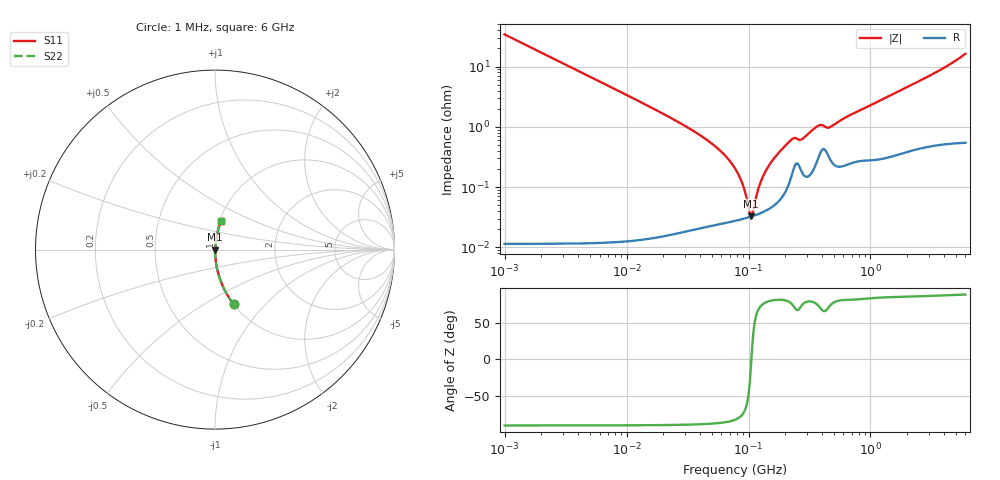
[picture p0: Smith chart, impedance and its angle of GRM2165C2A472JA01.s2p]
!Murata Part Number: GRM2165C2A472JA01
!These Parameters are Measured in Series Mode Connection
!Data Generated on Mar 30, 2021
!  o--ll--o
!Port1  Port2
!  o------o
!Operation Temp=25[degC], DC Bias Voltage=0[V]
!Freq. Start=1000[kHz] Stop=6[GHz] 401[Steps]
# Hz S RI R 50
!Freq.(Hz) S11(Real) S11(Imag) S21(Real) S21(Imag) S12(Real) S12(Imag) S22(Real) S22(Imag)
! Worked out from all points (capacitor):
!   401 points, 1 MHz to 6 GHz, reference 50 ohm
!   read as one part in series: C = 4.67 nF near 1.044 MHz
!   lowest |Z| = 32.4 mohm at 105 MHz (marker M1)
!   series resonance near 105.5 MHz, so ESL is about 490 pH
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1000000  0.104 -0.3051  0.896 0.3051  0.896 0.3051  0.104 -0.3051
2049734  0.027 -0.1616  0.973 0.1616  0.973 0.1616  0.027 -0.1616
4293785  0.00634 -0.0787  0.9937 0.0787  0.9937 0.0787  0.00634 -0.0787
1.843659e7  0.000466 -0.0179  0.9995 0.0179  0.9995 0.0179  0.000466 -0.0179
4.800399e7  0.000254 -0.00559  0.9997 0.00559  0.9997 0.00559  0.000254 -0.00559
6.368941e7  0.000263 -0.00338  0.9997 0.00338  0.9997 0.00338  0.000263 -0.00338
7.745967e7  0.000278 -0.00202  0.9997 0.00202  0.9997 0.00202  0.000278 -0.00202
8.825674e7  0.000293 -0.00116  0.9997 0.00116  0.9997 0.00116  0.000293 -0.00116
1.005588e8  0.000314 -0.000312  0.9997 0.000312  0.9997 0.000312  0.000314 -0.000312
1.050294e8  0.000322 -3.01e-05  0.9997 3.01e-05  0.9997 3.01e-05  0.000322 -3.01e-05
1.096987e8  0.000332 0.000252  0.9997 -0.000252  0.9997 -0.000252  0.000332 0.000252
1.196694e8  0.000354 0.000822  0.9996 -0.000822  0.9996 -0.000822  0.000354 0.000822
1.277378e8  0.000375 0.00126  0.9996 -0.00126  0.9996 -0.00126  0.000375 0.00126
1.587717e8  0.000486 0.0028  0.9995 -0.0028  0.9995 -0.0028  0.000486 0.0028
2.248532e8  0.00154 0.0059  0.9985 -0.0059  0.9985 -0.0059  0.00154 0.0059
2.734687e8  0.0018 0.00592  0.9982 -0.00592  0.9982 -0.00592  0.0018 0.00592
3.325952e8  0.00184 0.00853  0.9982 -0.00853  0.9982 -0.00853  0.00184 0.00853
3.872876e8  0.00376 0.00998  0.9962 -0.00998  0.9962 -0.00998  0.00376 0.00998
4.710229e8  0.00286 0.00955  0.9971 -0.00955  0.9971 -0.00955  0.00286 0.00955
1.428092e9  0.00416 0.0322  0.9958 -0.0322  0.9958 -0.0322  0.00416 0.0322
3.483508e9  0.0113 0.0799  0.9887 -0.0799  0.9887 -0.0799  0.0113 0.0799
6e9  0.0308 0.1569  0.9692 -0.1569  0.9692 -0.1569  0.0308 0.1569
